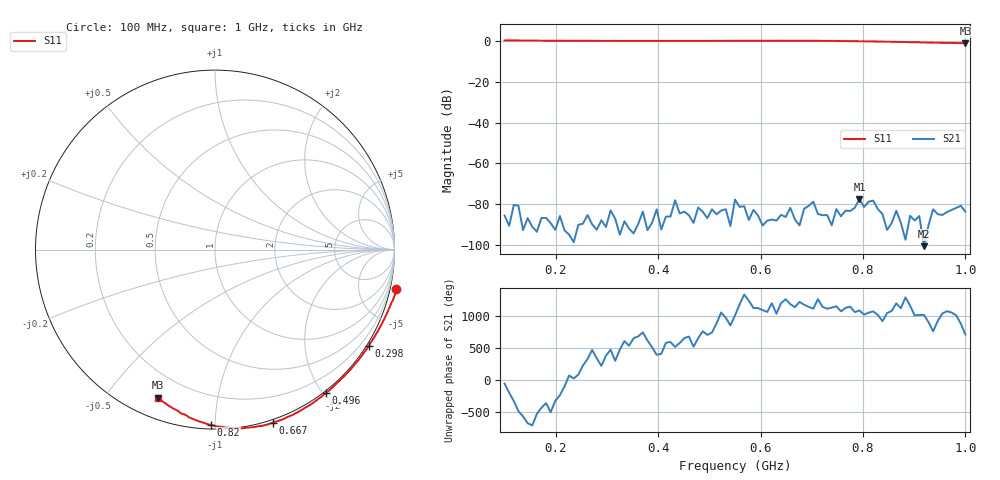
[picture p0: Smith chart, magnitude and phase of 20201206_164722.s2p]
# HZ S RI R 50
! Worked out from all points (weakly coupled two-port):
!   101 points, 100 MHz to 1 GHz, reference 50 ohm
!   highest |S21| = -77.47 dB at 793 MHz (marker M1); lowest = -100.6 dB at 919 MHz (marker M2)
!   lowest |S11| = -1.1 dB at 1 GHz (marker M3), VSWR 16.41, Z = 4.47 - j34.1 ohm
!   |S11| at or under -10 dB: nowhere
!   S12 and S22 are empty: the file has one direction only
!   S11 on the Smith chart (normalised r, x): 100 MHz: -1.33, -9.09; 298 MHz: -0.07, -3.49; 496 MHz: -0.02, -2.03; 667 MHz: -0.02, -1.39; 820 MHz: 0.02, -0.98; 1 GHz: 0.09, -0.68
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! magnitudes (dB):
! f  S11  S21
! 100 MHz  0.3  -85.6
! 253 MHz  0.1  -89.6
! 298 MHz  0.1  -91.2
! 406 MHz  0.1  -92.4
! 424 MHz  0.1  -86.1
! 433 MHz  0.1  -78.1
! 442 MHz  0.1  -84.6
! 496 MHz  0.1  -86.9
! 541 MHz  0.1  -90.8
! 550 MHz  0.1  -77.7
! 559 MHz  0.1  -81.3
! 667 MHz  0.1  -87.5
! 703 MHz  0.1  -78.8
! 712 MHz  0.1  -84.9
! 784 MHz  -0.1  -81.8
! 793 MHz  -0.1  -77.5
! 802 MHz  -0.1  -81.5
! 820 MHz  -0.2  -78.3
! 829 MHz  -0.2  -82.4
! 856 MHz  -0.3  -89.3
! 919 MHz  -0.7  -100.6
! 1 GHz  -1.1  -83.7
